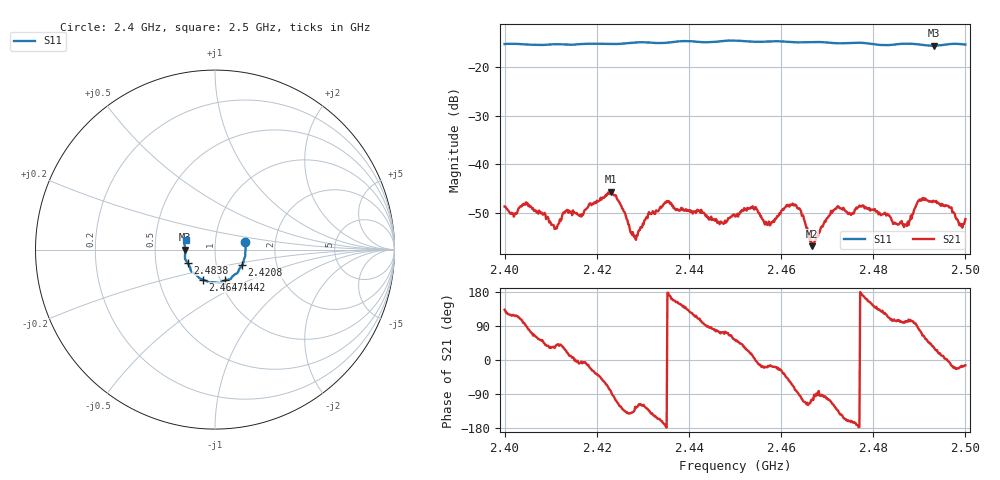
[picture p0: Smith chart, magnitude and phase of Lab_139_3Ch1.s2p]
# Hz S RI R 50
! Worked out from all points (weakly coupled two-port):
!   601 points, 2.4 GHz to 2.5 GHz, reference 50 ohm
!   highest |S21| = -45.71 dB at 2.4232 GHz (marker M1); lowest = -56.9 dB at 2.4667 GHz (marker M2)
!   lowest |S11| = -15.6 dB at 2.4932 GHz (marker M3), VSWR 1.40, Z = 35.8 - j0.0903 ohm
!   |S11| at or under -10 dB: start of sweep to end of sweep
!   S12 and S22 are empty: the file has one direction only
!   S11 on the Smith chart (normalised r, x): 2.4 GHz: 1.40, +0.12; 2.4208 GHz: 1.33, -0.24; 2.4442 GHz: 1.05, -0.37; 2.4647 GHz: 0.83, -0.29; 2.4838 GHz: 0.73, -0.11; 2.5 GHz: 0.72, +0.08
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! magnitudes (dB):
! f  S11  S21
! 2.4 GHz  -15.3  -48.8
! 2.4052 GHz  -15.4  -48.7
! 2.4108 GHz  -15.3  -53.4
! 2.4167 GHz  -15.2  -50.8
! 2.4208 GHz  -15.2  -46.9
! 2.4232 GHz  -15.2  -45.7
! 2.4282 GHz  -15.0  -54.8
! 2.4333 GHz  -15.0  -49.7
! 2.4442 GHz  -14.9  -50.9
! 2.45 GHz  -14.5  -50.8
! 2.454 GHz  -14.8  -49.2
! 2.4575 GHz  -14.7  -52.6
! 2.4625 GHz  -14.8  -48.1
! 2.4647 GHz  -14.9  -50.5
! 2.4667 GHz  -14.8  -56.9
! 2.4722 GHz  -15.1  -48.8
! 2.4833 GHz  -15.5  -50.5
! 2.4838 GHz  -15.4  -51.1
! 2.4872 GHz  -15.2  -52.5
! 2.4902 GHz  -15.3  -47.3
! 2.4932 GHz  -15.6  -47.6
! 2.5 GHz  -15.3  -51.4
